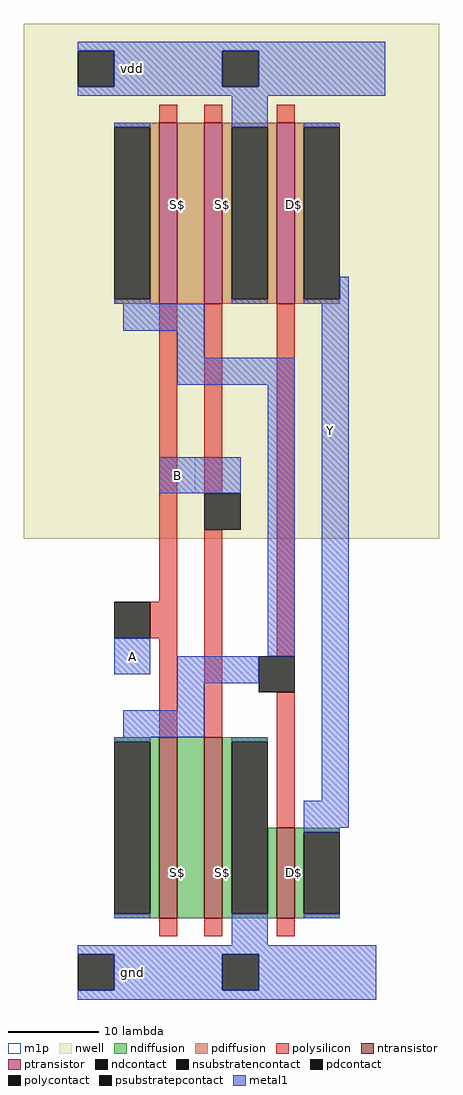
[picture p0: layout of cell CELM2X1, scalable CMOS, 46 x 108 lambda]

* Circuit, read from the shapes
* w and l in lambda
.subckt CELM2X1 B Y A gnd vdd
M1 n1 A n2 gnd nfet w=20 l=2
M2 gnd B n1 gnd nfet w=20 l=2
M3 Y n2 gnd gnd nfet w=10 l=2
M4 n3 A n2 vdd pfet w=20 l=2
M5 vdd B n3 vdd pfet w=20 l=2
M6 Y n2 vdd vdd pfet w=20 l=2
.ends

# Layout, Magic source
magic
tech scmos
magscale 1 2
<< nwell >>
rect -16 96 76 210
<< ntransistor >>
rect 14 12 18 52
rect 24 12 28 52
rect 40 12 44 32
<< ptransistor >>
rect 14 148 18 188
rect 24 148 28 188
rect 40 148 44 188
<< ndiffusion >>
rect 4 51 14 52
rect 12 13 14 51
rect 4 12 14 13
rect 18 12 24 52
rect 28 51 38 52
rect 28 13 30 51
rect 38 13 40 32
rect 28 12 40 13
rect 44 31 54 32
rect 44 13 46 31
rect 44 12 54 13
<< pdiffusion >>
rect 4 187 14 188
rect 12 149 14 187
rect 4 148 14 149
rect 18 148 24 188
rect 28 187 40 188
rect 28 149 30 187
rect 38 149 40 187
rect 28 148 40 149
rect 44 187 54 188
rect 44 149 46 187
rect 44 148 54 149
<< ndcontact >>
rect 4 13 12 51
rect 30 13 38 51
rect 46 13 54 31
<< pdcontact >>
rect 4 149 12 187
rect 30 149 38 187
rect 46 149 54 187
<< psubstratepcontact >>
rect -4 -4 4 4
rect 28 -4 36 4
<< nsubstratencontact >>
rect -4 196 4 204
rect 28 196 36 204
<< polysilicon >>
rect 14 188 18 192
rect 24 188 28 192
rect 40 188 44 192
rect 14 82 18 148
rect 12 74 18 82
rect 14 52 18 74
rect 24 106 28 148
rect 24 52 28 98
rect 40 70 44 148
rect 40 32 44 62
rect 14 8 18 12
rect 24 8 28 12
rect 40 8 44 12
<< polycontact >>
rect 4 74 12 82
rect 24 98 32 106
rect 36 62 44 70
<< metal1 >>
rect -4 204 64 206
rect 4 196 28 204
rect 36 196 64 204
rect -4 194 64 196
rect 4 187 12 188
rect 4 148 12 149
rect 30 187 38 194
rect 30 148 38 149
rect 46 187 54 188
rect 54 149 56 154
rect 46 148 56 149
rect 6 142 24 148
rect 18 136 24 142
rect 18 130 44 136
rect 14 106 32 114
rect 4 66 12 74
rect 38 70 44 130
rect 18 64 36 70
rect 18 58 24 64
rect 6 52 24 58
rect 4 51 12 52
rect 4 12 12 13
rect 30 51 38 52
rect 50 38 56 148
rect 30 6 38 13
rect 46 32 56 38
rect 46 31 54 32
rect 46 12 54 13
rect -4 4 62 6
rect 4 -4 28 4
rect 36 -4 62 4
rect -4 -6 62 -4
<< m1p >>
rect 14 106 22 114
rect 4 66 12 74
<< labels >>
rlabel metal1 8 200 8 200 4 vdd
port 5 se power bidirectional
rlabel metal1 8 0 8 0 4 gnd
port 4 se ground bidirectional
rlabel metal1 8 70 8 70 4 A
port 3 se signal input
rlabel ntransistor 44 22 44 22 1 D$
rlabel ntransistor 40 22 40 22 1 S$
rlabel ntransistor 28 22 28 22 1 S$
rlabel ntransistor 18 22 18 22 1 S$
rlabel ntransistor 24 22 24 22 1 D$
rlabel ntransistor 14 22 14 22 1 D$
rlabel metal1 18 110 18 110 4 B
port 1 se signal input
rlabel ptransistor 28 170 28 170 1 S$
rlabel ptransistor 24 170 24 170 1 D$
rlabel ptransistor 44 170 44 170 1 D$
rlabel ptransistor 40 170 40 170 1 S$
rlabel ptransistor 18 170 18 170 1 S$
rlabel ptransistor 14 170 14 170 1 D$
rlabel metal1 52 120 52 120 4 Y
port 2 se signal output
<< end >>
